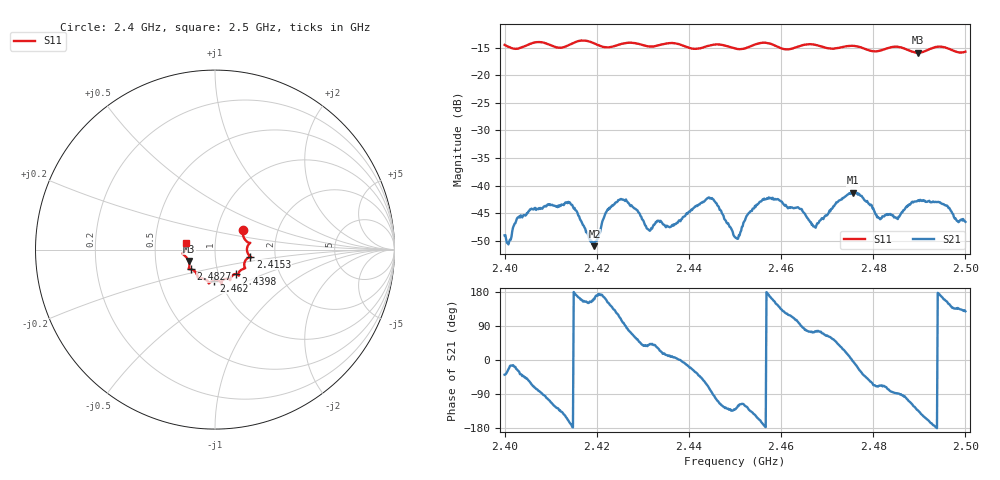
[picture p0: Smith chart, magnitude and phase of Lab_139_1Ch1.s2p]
# Hz S RI R 50
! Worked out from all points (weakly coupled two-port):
!   601 points, 2.4 GHz to 2.5 GHz, reference 50 ohm
!   highest |S21| = -41.32 dB at 2.4757 GHz (marker M1); lowest = -51.0 dB at 2.4195 GHz (marker M2)
!   lowest |S11| = -15.9 dB at 2.4897 GHz (marker M3), VSWR 1.38, Z = 36.9 - j4.83 ohm
!   |S11| at or under -10 dB: start of sweep to end of sweep
!   S12 and S22 are empty: the file has one direction only
!   S11 on the Smith chart (normalised r, x): 2.4 GHz: 1.33, +0.29; 2.4153 GHz: 1.48, -0.12; 2.4398 GHz: 1.21, -0.34; 2.462 GHz: 0.93, -0.33; 2.4827 GHz: 0.75, -0.17; 2.5 GHz: 0.72, +0.06
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2.4e9  0.1555 0.1069  0.00275 -0.00221  0 0  0 0
2.401e9  0.1551 0.0913  0.00291 -0.0011  0 0  0 0
2.402667e9  0.1619 0.0641  0.00455 -0.0021  0 0  0 0
2.406e9  0.1923 0.0374  0.00249 -0.00557  0 0  0 0
2.415333e9  0.1963 -0.0388  -0.00596 0.000656  0 0  0 0
2.416667e9  0.2024 -0.0427  -0.00442 0.00167  0 0  0 0
2.4195e9  0.1897 -0.0429  -0.00266 0.000928  0 0  0 0
2.422167e9  0.1667 -0.066  -0.00535 0.00234  0 0  0 0
2.425167e9  0.1652 -0.0974  -0.00254 0.0071  0 0  0 0
2.431167e9  0.1414 -0.1161  0.00308 0.00254  0 0  0 0
2.433333e9  0.1305 -0.1335  0.00414 0.00242  0 0  0 0
2.439833e9  0.1157 -0.136  0.00547 -0.00159  0 0  0 0
2.444833e9  0.0847 -0.168  0.00091 -0.00758  0 0  0 0
2.45e9  0.0653 -0.1624  -0.00221 -0.00258  0 0  0 0
2.455833e9  0.0379 -0.1935  -0.00707 -0.00179  0 0  0 0
2.462e9  -0.00513 -0.1731  -0.00287 0.00556  0 0  0 0
2.466667e9  -0.0343 -0.1881  0.00115 0.00424  0 0  0 0
2.475667e9  -0.0941 -0.1593  0.00857 -0.000631  0 0  0 0
2.482667e9  -0.135 -0.1093  0.00177 -0.00508  0 0  0 0
2.483333e9  -0.1403 -0.1089  0.00115 -0.00531  0 0  0 0
2.489667e9  -0.1468 -0.0637  -0.00493 -0.00539  0 0  0 0
2.5e9  -0.1592 0.0386  -0.00292 0.00366  0 0  0 0
